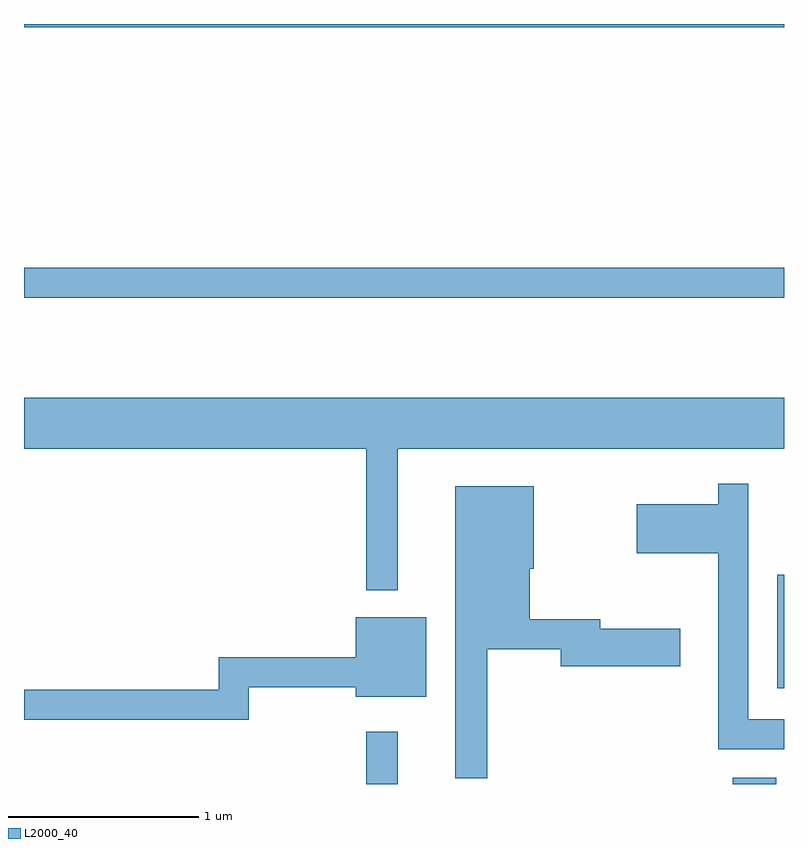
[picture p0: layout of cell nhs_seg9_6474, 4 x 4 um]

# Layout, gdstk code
import gdstk
lib = gdstk.Library(unit=1e-6, precision=1e-09)
def R(c, l, rs):  # rectangles x0, y0, x1, y1
    for r in rs: c.add(gdstk.rectangle(r[:2], r[2:], *l))
def P(c, l, *ps):  # polygons
    for p in ps: c.add(gdstk.Polygon(p, *l))
L2000_40 = (2000, 40)

nhs_seg9_6474 = lib.new_cell('nhs_seg9_6474')
R(nhs_seg9_6474, L2000_40, [(377.411,2054.432,377.579,2054.708), (379.341,2054.432,379.569,2054.464), (379.576,2054.936,379.611,2055.534), (375.611,2056.991,379.611,2057.149), (375.611,2058.416,379.611,2058.432)])
P(nhs_seg9_6474, L2000_40, [(377.579,2056.196),(379.611,2056.196),(379.611,2056.464),(375.611,2056.464),(375.611,2056.196),(377.411,2056.196),(377.411,2055.452),(377.579,2055.452)],
  [(379.611,2054.774),(379.424,2054.774),(379.424,2056.012),(379.266,2056.012),(379.266,2055.904),(378.836,2055.904),(378.836,2055.646),(379.266,2055.646),(379.266,2054.616),(379.611,2054.616)],
  [(378.049,2055.141),(378.436,2055.141),(378.436,2055.051),(379.064,2055.051),(379.064,2055.249),(378.644,2055.249),(378.644,2055.299),(378.274,2055.299),(378.274,2055.566),(378.294,2055.566),(378.294,2055.999),(377.881,2055.999),(377.881,2054.463),(378.049,2054.463)],
  [(376.794,2054.941),(377.356,2054.941),(377.356,2054.891),(377.729,2054.891),(377.729,2055.309),(377.356,2055.309),(377.356,2055.099),(376.636,2055.099),(376.636,2054.929),(375.611,2054.929),(375.611,2054.771),(376.794,2054.771)])

lib.write_gds('nhs_seg9_6474.gds')
